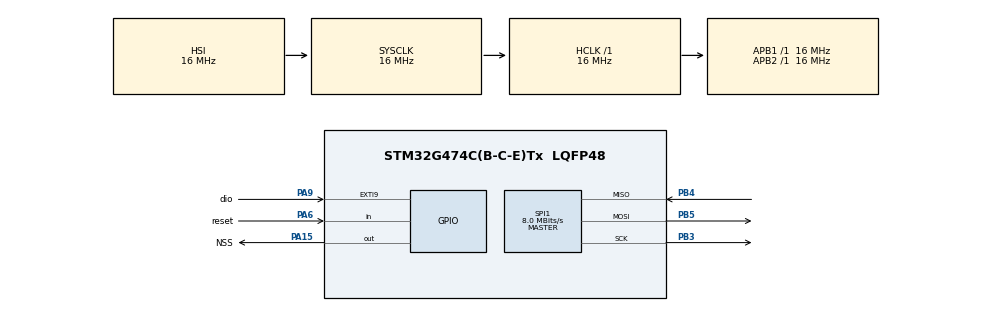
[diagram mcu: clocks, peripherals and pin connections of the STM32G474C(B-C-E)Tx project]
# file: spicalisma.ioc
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Mcu.Family=STM32G4
Mcu.Name=STM32G474C(B-C-E)Tx
Mcu.Package=LQFP48
NVIC.PriorityGroup=NVIC_PRIORITYGROUP_4
PA13.GPIO_Label=tms
PA13.Mode=Serial_Wire
PA13.Signal=SYS_JTMS-SWDIO
PA14.Mode=Serial_Wire
PA14.Signal=SYS_JTCK-SWCLK
PA15.GPIO_Label=NSS
PA15.PinState=GPIO_PIN_SET
PA15.Signal=GPIO_Output
PA6.GPIO_Label=reset
PA6.Signal=GPIO_Input
PA9.GPIO_Label=dio
PA9.Signal=GPXTI9
PB3.Mode=Full_Duplex_Master
PB3.Signal=SPI1_SCK
PB4.Mode=Full_Duplex_Master
PB4.Signal=SPI1_MISO
PB5.Mode=Full_Duplex_Master
PB5.Signal=SPI1_MOSI
PF0-OSC_IN.Mode=HSE-External-Oscillator
PF0-OSC_IN.Signal=RCC_OSC_IN
PF1-OSC_OUT.Mode=HSE-External-Oscillator
PF1-OSC_OUT.Signal=RCC_OSC_OUT
ProjectManager.HeapSize=0x200
ProjectManager.StackSize=0x400
ProjectManager.TargetToolchain=STM32CubeIDE
RCC.AHBFreq_Value=16000000
RCC.APB1Freq_Value=16000000
RCC.APB1TimFreq_Value=16000000
RCC.APB2Freq_Value=16000000
RCC.APB2TimFreq_Value=16000000
RCC.CortexFreq_Value=16000000
RCC.EXTERNAL_CLOCK_VALUE=12288000
RCC.HCLKFreq_Value=16000000
RCC.HSE_VALUE=8000000
RCC.HSI48_VALUE=48000000
RCC.HSI_VALUE=16000000
RCC.LSE_VALUE=32768
RCC.SYSCLKFreq_VALUE=16000000
RCC.USBFreq_Value=64000000
RCC.VCOOutputFreq_Value=128000000
SPI1.CLKPhase=SPI_PHASE_1EDGE
SPI1.CalculateBaudRate=8.0 MBits/s
SPI1.Direction=SPI_DIRECTION_2LINES
SPI1.Mode=SPI_MODE_MASTER
SPI1.VirtualType=VM_MASTER
VP_SYS_VS_DBSignals.Mode=DisableDeadBatterySignals
board=custom

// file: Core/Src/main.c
/* USER CODE BEGIN Header */
/**
  ******************************************************************************
  * @file           : main.c
  * @brief          : Main program body
  ******************************************************************************
  * @attention
  *
  * Copyright (c) 2025 STMicroelectronics.
  * All rights reserved.
  *
  * This software is licensed under terms that can be found in the LICENSE file
  * in the root directory of this software component.
  * If no LICENSE file comes with this software, it is provided AS-IS.
  *
  ******************************************************************************
  */
/* USER CODE END Header */
#include "main.h"
#include "spi.h"
#include "gpio.h"

/* USER CODE BEGIN Includes */
#include "LoRa.h"
#include <stdlib.h>
#include <stdio.h>
/* USER CODE END Includes */

/* USER CODE BEGIN PV */

LoRa lora;
uint8_t lora_stat =0;

/* USER CODE END PV */

void SystemClock_Config(void);

int main(void)
{

  /* USER CODE BEGIN 1 */
	  LoRa_setup();
  /* USER CODE END 1 */

  /* MCU Configuration--------------------------------------------------------*/

  /* Reset of all peripherals, Initializes the Flash interface and the Systick. */
  HAL_Init();

  /* Configure the system clock */
  SystemClock_Config();

  /* Initialize all configured peripherals */
  MX_GPIO_Init();
  MX_SPI1_Init();
  /* USER CODE BEGIN 2 */

  void LoRa_setup(){

  }

  	lora.CS_port = NSS_GPIO_Port;
  	lora.CS_pin = NSS_Pin;
  	lora.reset_port = reset_GPIO_Port;
  	lora.reset_pin = reset_Pin;
  	lora.DIO0_port = dio_GPIO_Port;
  	lora.DIO0_pin = dio_Pin;
  	lora.hSPIx = &hspi1;

  	lora.frequency = 410;
  	lora.spredingFactor = SF_7;
  	lora.bandWidth = BW_500KHz;
  	lora.power = POWER_20db;
  	lora.overCurrentProtection=250;
    lora.crcRate = CR_4_5;
    lora.preamble = 8;

  	//LoRa_reset(&lora);

    if (LoRa_init(&lora)==LORA_OK){
    	lora_stat =1;
    }
    LoRa_startReceiving(&lora);

//    uint8_t txbuffer[128];
//    txbuffer[0] = 45;
//    txbuffer[1] = 0x12;
//    txbuffer[2] = 'G';

  /* USER CODE END 2 */

  /* Infinite loop */
  while (1)
  {

    /* USER CODE BEGIN 3 */
	//    uint8_t message[] = "Merhaba LoRa!";

  }
  /* USER CODE END 3 */
}

void SystemClock_Config(void)
{
  RCC_OscInitTypeDef RCC_OscInitStruct = {0};
  RCC_ClkInitTypeDef RCC_ClkInitStruct = {0};

  /** Configure the main internal regulator output voltage
  */
  HAL_PWREx_ControlVoltageScaling(PWR_REGULATOR_VOLTAGE_SCALE1);

  /** Initializes the RCC Oscillators according to the specified parameters
  * in the RCC_OscInitTypeDef structure.
  */
  RCC_OscInitStruct.OscillatorType = RCC_OSCILLATORTYPE_HSI;
  RCC_OscInitStruct.HSIState = RCC_HSI_ON;
  RCC_OscInitStruct.HSICalibrationValue = RCC_HSICALIBRATION_DEFAULT;
  RCC_OscInitStruct.PLL.PLLState = RCC_PLL_NONE;
  if (HAL_RCC_OscConfig(&RCC_OscInitStruct) != HAL_OK)
  {
    Error_Handler();
  }

  /** Initializes the CPU, AHB and APB buses clocks
  */
  RCC_ClkInitStruct.ClockType = RCC_CLOCKTYPE_HCLK|RCC_CLOCKTYPE_SYSCLK
                              |RCC_CLOCKTYPE_PCLK1|RCC_CLOCKTYPE_PCLK2;
  RCC_ClkInitStruct.SYSCLKSource = RCC_SYSCLKSOURCE_HSI;
  RCC_ClkInitStruct.AHBCLKDivider = RCC_SYSCLK_DIV1;
  RCC_ClkInitStruct.APB1CLKDivider = RCC_HCLK_DIV1;
  RCC_ClkInitStruct.APB2CLKDivider = RCC_HCLK_DIV1;

  if (HAL_RCC_ClockConfig(&RCC_ClkInitStruct, FLASH_LATENCY_0) != HAL_OK)
  {
    Error_Handler();
  }
}

void Error_Handler(void)
{
  __disable_irq();
  while (1)
  {
  }
}
